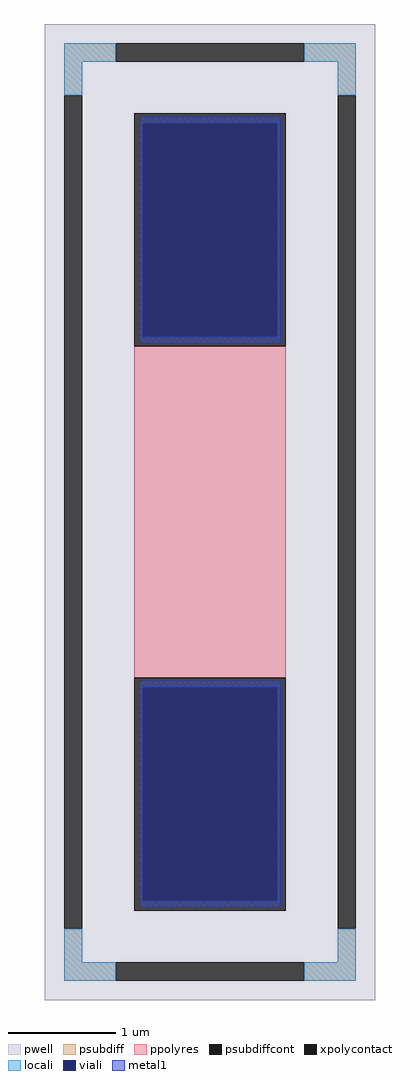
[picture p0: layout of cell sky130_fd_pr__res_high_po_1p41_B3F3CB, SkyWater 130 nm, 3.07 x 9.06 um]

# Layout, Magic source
magic
tech sky130A
magscale 1 2
<< pwell >>
rect -307 -906 307 906
<< psubdiff >>
rect -271 836 -175 870
rect 175 836 271 870
rect -271 774 -237 836
rect 237 774 271 836
rect -271 -836 -237 -774
rect 237 -836 271 -774
rect -271 -870 -175 -836
rect 175 -870 271 -836
<< psubdiffcont >>
rect -175 836 175 870
rect -271 -774 -237 774
rect 237 -774 271 774
rect -175 -870 175 -836
<< xpolycontact >>
rect -141 308 141 740
rect -141 -740 141 -308
<< ppolyres >>
rect -141 -308 141 308
<< locali >>
rect -271 836 -175 870
rect 175 836 271 870
rect -271 774 -237 836
rect 237 774 271 836
rect -271 -836 -237 -774
rect 237 -836 271 -774
rect -271 -870 -175 -836
rect 175 -870 271 -836
<< viali >>
rect -125 325 125 722
rect -125 -722 125 -325
<< metal1 >>
rect -131 722 131 734
rect -131 325 -125 722
rect 125 325 131 722
rect -131 313 131 325
rect -131 -325 131 -313
rect -131 -722 -125 -325
rect 125 -722 131 -325
rect -131 -734 131 -722
<< properties >>
string FIXED_BBOX -254 -853 254 853
string gencell sky130_fd_pr__res_high_po_1p41
string library sky130
string parameters w 1.410 l 3.235 m 1 nx 1 wmin 1.410 lmin 0.50 class resistor rho 319.8 val 1.01k dummy 0 dw 0.0 term 194.82 sterm 0.0 caplen 0 guard 1 glc 1 grc 1 gtc 1 gbc 1 compatible {sky130_fd_pr__res_high_po_0p35  sky130_fd_pr__res_high_po_0p69 sky130_fd_pr__res_high_po_1p41  sky130_fd_pr__res_high_po_2p85 sky130_fd_pr__res_high_po_5p73} snake 0 full_metal 1 wmax 1.410 n_guard 0 hv_guard 0 vias 1 viagb 0 viagt 0 viagl 0 viagr 0 mult 1
<< end >>
